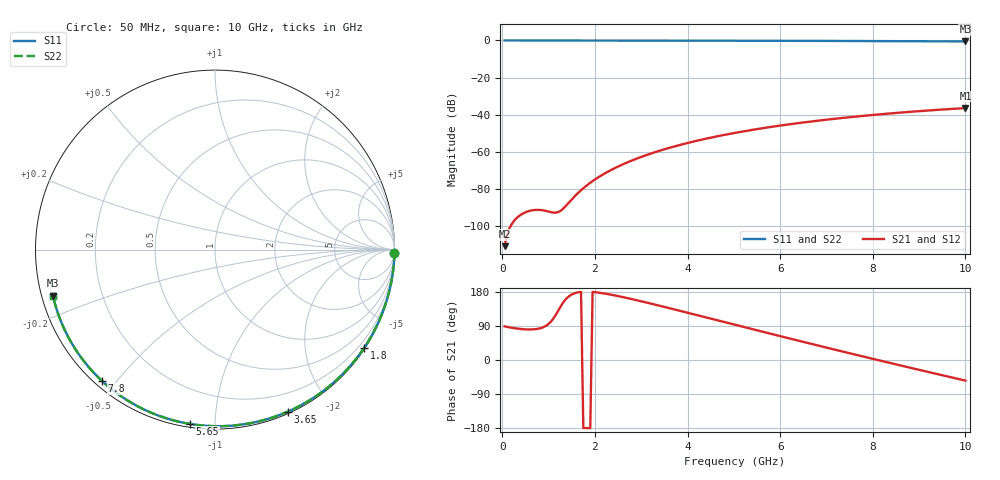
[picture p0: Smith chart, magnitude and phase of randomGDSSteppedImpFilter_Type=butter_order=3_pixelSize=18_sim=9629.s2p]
! freq	dB(S11)	phase(S11)	dB(S12)	phase(S12)
!  dB(S21)	phase(S21)	dB(S22)	phase(S22)
!S-par simulation data
#  GHz  S  DB  R 50
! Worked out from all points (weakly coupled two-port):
!   200 points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, 50 MHz to 10 GHz, reference 50 ohm
!   highest |S21| = -36.44 dB at 10 GHz (marker M1); lowest = -110.8 dB at 50 MHz (marker M2)
!   lowest |S11| = -0.5 dB at 10 GHz (marker M3), VSWR 31.63, Z = 1.61 - j6.95 ohm
!   |S11| at or under -10 dB: nowhere
!   |S22| runs from -0.5 to 0.0 dB; largest |S21 - S12| = 0
!   S11 on the Smith chart (normalised r, x): 50 MHz: open; 1.8 GHz: 0.03, -3.33; 3.65 GHz: 0.02, -1.54; 5.65 GHz: 0.02, -0.87; 7.8 GHz: 0.02, -0.46; 10 GHz: 0.03, -0.14
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0.05  -0.00 -0.9  -110.83 88.7  -110.83 88.7  -0.00 -0.9
0.45  -0.01 -8.5  -93.18 81.3  -93.18 81.3  -0.01 -8.5
0.85  -0.02 -16.0  -91.41 84.9  -91.41 84.9  -0.02 -16.0
1.7  -0.04 -31.6  -80.69 179.8  -80.69 179.8  -0.04 -31.6
1.75  -0.04 -32.5  -79.61 -179.7  -79.61 -179.7  -0.04 -32.5
1.8  -0.04 -33.4  -78.58 -179.6  -78.58 -179.6  -0.04 -33.4
1.95  -0.05 -36.1  -75.77 179.6  -75.77 179.6  -0.05 -36.1
2.1  -0.05 -38.8  -73.31 177.4  -73.31 177.4  -0.05 -38.8
2.45  -0.06 -45.1  -68.53 169.9  -68.53 169.9  -0.06 -45.1
2.9  -0.07 -53.0  -63.68 157.8  -63.68 157.8  -0.07 -53.0
3.4  -0.08 -61.6  -59.39 143.1  -59.39 143.1  -0.08 -61.6
3.65  -0.09 -65.8  -57.55 135.5  -57.55 135.5  -0.09 -65.8
4.3  -0.11 -76.7  -53.47 115.5  -53.47 115.5  -0.11 -76.7
5.05  -0.14 -88.8  -49.68 92.3  -49.68 92.3  -0.14 -88.8
5.65  -0.16 -98.2  -47.17 73.7  -47.17 73.7  -0.16 -98.2
6.15  -0.19 -105.9  -45.34 58.4  -45.34 58.4  -0.19 -105.9
6.7  -0.22 -114.3  -43.57 41.7  -43.57 41.7  -0.22 -114.3
7.25  -0.26 -122.6  -42.00 25.2  -42.00 25.2  -0.26 -122.6
7.8  -0.31 -130.8  -40.61 8.9  -40.61 8.9  -0.31 -130.8
8.35  -0.36 -139.0  -39.37 -7.2  -39.37 -7.2  -0.36 -139.0
9.2  -0.45 -151.8  -37.72 -31.7  -37.72 -31.7  -0.45 -151.8
10  -0.55 -164.2  -36.44 -54.3  -36.44 -54.3  -0.55 -164.2
